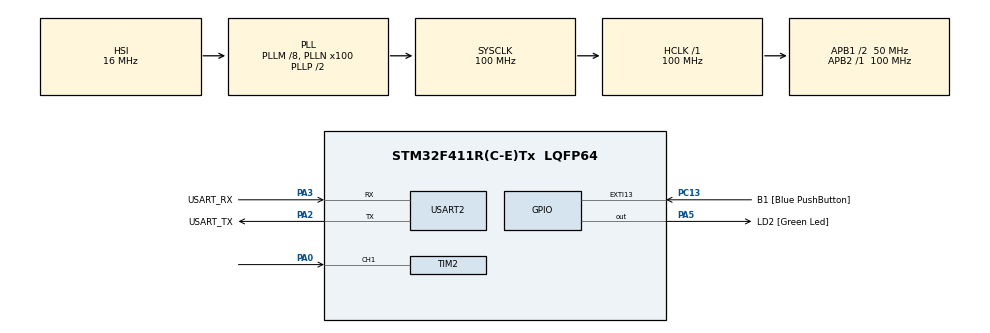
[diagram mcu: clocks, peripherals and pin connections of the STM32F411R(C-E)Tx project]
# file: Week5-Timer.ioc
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Dma.Request0=TIM2_CH1
Dma.TIM2_CH1.0.Direction=DMA_PERIPH_TO_MEMORY
Dma.TIM2_CH1.0.FIFOMode=DMA_FIFOMODE_DISABLE
Dma.TIM2_CH1.0.Instance=DMA1_Stream5
Dma.TIM2_CH1.0.MemDataAlignment=DMA_MDATAALIGN_WORD
Dma.TIM2_CH1.0.MemInc=DMA_MINC_ENABLE
Dma.TIM2_CH1.0.Mode=DMA_CIRCULAR
Dma.TIM2_CH1.0.PeriphDataAlignment=DMA_PDATAALIGN_WORD
Dma.TIM2_CH1.0.PeriphInc=DMA_PINC_DISABLE
Dma.TIM2_CH1.0.Priority=DMA_PRIORITY_LOW
Mcu.Family=STM32F4
Mcu.Name=STM32F411R(C-E)Tx
Mcu.Package=LQFP64
NVIC.DMA1_Stream5_IRQn=true\:0\:0\:false\:false\:true\:false\:true
NVIC.PriorityGroup=NVIC_PRIORITYGROUP_0
NVIC.TIM5_IRQn=true\:0\:0\:false\:false\:true\:true\:true
PA0-WKUP.Signal=S_TIM2_CH1_ETR
PA13.GPIO_Label=TMS
PA13.Mode=Serial_Wire
PA13.Signal=SYS_JTMS-SWDIO
PA14.GPIO_Label=TCK
PA14.Mode=Serial_Wire
PA14.Signal=SYS_JTCK-SWCLK
PA2.GPIO_Label=USART_TX
PA2.Mode=Asynchronous
PA2.Signal=USART2_TX
PA3.GPIO_Label=USART_RX
PA3.Mode=Asynchronous
PA3.Signal=USART2_RX
PA5.GPIO_Label=LD2 [Green Led]
PA5.Signal=GPIO_Output
PB3.GPIO_Label=SWO
PB3.Signal=SYS_JTDO-SWO
PC13-ANTI_TAMP.GPIO_Label=B1 [Blue PushButton]
PC13-ANTI_TAMP.GPIO_ModeDefaultEXTI=GPIO_MODE_IT_FALLING
PC13-ANTI_TAMP.Signal=GPXTI13
PC14-OSC32_IN.Mode=LSE-External-Oscillator
PC14-OSC32_IN.Signal=RCC_OSC32_IN
PC15-OSC32_OUT.Mode=LSE-External-Oscillator
PC15-OSC32_OUT.Signal=RCC_OSC32_OUT
PH0\ -\ OSC_IN.Mode=HSE-External-Clock-Source
PH0\ -\ OSC_IN.Signal=RCC_OSC_IN
PH1\ -\ OSC_OUT.Mode=HSE-External-Clock-Source
PH1\ -\ OSC_OUT.Signal=RCC_OSC_OUT
ProjectManager.HeapSize=0x200
ProjectManager.StackSize=0x400
ProjectManager.TargetToolchain=STM32CubeIDE
RCC.48MHZClocksFreq_Value=50000000
RCC.AHBFreq_Value=100000000
RCC.APB1CLKDivider=RCC_HCLK_DIV2
RCC.APB1Freq_Value=50000000
RCC.APB1TimFreq_Value=100000000
RCC.APB2Freq_Value=100000000
RCC.APB2TimFreq_Value=100000000
RCC.CortexFreq_Value=100000000
RCC.FLatency-AdvancedSettings=FLASH_LATENCY_3
RCC.HCLKFreq_Value=100000000
RCC.HSE_VALUE=8000000
RCC.HSI_VALUE=16000000
RCC.PLLM=8
RCC.PLLN=100
RCC.SYSCLKFreq_VALUE=100000000
RCC.SYSCLKSource=RCC_SYSCLKSOURCE_PLLCLK
RCC.VCOOutputFreq_Value=200000000
SH.S_TIM2_CH1_ETR.0=TIM2_CH1,Input_Capture1_from_TI1
TIM2.Channel-Input_Capture1_from_TI1=TIM_CHANNEL_1
TIM2.ICFilter_CH1=2
TIM2.Prescaler=99
TIM5.Prescaler=99
USART2.VirtualMode=VM_ASYNC
VP_TIM2_VS_ClockSourceINT.Mode=Internal
VP_TIM5_VS_ClockSourceINT.Mode=Internal
board=NUCLEO-F411RE

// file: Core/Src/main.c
/* USER CODE BEGIN Header */
/**
  ******************************************************************************
  * @file           : main.c
  * @brief          : Main program body
  ******************************************************************************
  * @attention
  *
  * <h2><center>&copy; Copyright (c) 2021 STMicroelectronics.
  * All rights reserved.</center></h2>
  *
  * This software component is licensed by ST under BSD 3-Clause license,
  * the "License"; You may not use this file except in compliance with the
  * License. You may obtain a copy of the License at:
  *                        opensource.org/licenses/BSD-3-Clause
  *
  ******************************************************************************
  */
/* USER CODE END Header */
#include "main.h"

/* USER CODE BEGIN PD */
#define CAPTURENUM 32
/* USER CODE END PD */

TIM_HandleTypeDef htim2;
TIM_HandleTypeDef htim5;
DMA_HandleTypeDef hdma_tim2_ch1;

UART_HandleTypeDef huart2;

/* USER CODE BEGIN PV */

//12 P/R , Gear reduction 1:64
//DMA Buffer
uint32_t capturedata[CAPTURENUM] = { 0 };

//diff time of capture data
int32_t DiffTime[CAPTURENUM-1] = { 0 };
//Mean difftime
float MeanTime = 0;
float RPM_Motor = 0;

//for microsecond measurement
uint64_t _micros = 0;
uint64_t timestamp = 0;

/* USER CODE END PV */

void SystemClock_Config(void);
static void MX_GPIO_Init(void);
static void MX_DMA_Init(void);
static void MX_USART2_UART_Init(void);
static void MX_TIM2_Init(void);
static void MX_TIM5_Init(void);
/* USER CODE BEGIN PFP */
//Read speed of encoder
void encoderSpeedReaderCycle();
void toggleLed();
uint64_t micros();
/* USER CODE END PFP */

int main(void)
{

  /* MCU Configuration--------------------------------------------------------*/

  /* Reset of all peripherals, Initializes the Flash interface and the Systick. */
  HAL_Init();

  /* Configure the system clock */
  SystemClock_Config();

  /* Initialize all configured peripherals */
  MX_GPIO_Init();
  MX_DMA_Init();
  MX_USART2_UART_Init();
  MX_TIM2_Init();
  MX_TIM5_Init();
  /* USER CODE BEGIN 2 */
  	  //start Microsec timer
  	 HAL_TIM_Base_Start_IT(&htim5);

  	 //start Input capture in DMA
  	 HAL_TIM_Base_Start(&htim2);
  	 HAL_TIM_IC_Start_DMA(&htim2, TIM_CHANNEL_1, (uint32_t*)capturedata, CAPTURENUM);

  /* USER CODE END 2 */

  /* Infinite loop */
  while (1)
  {
	  toggleLed();
	  encoderSpeedReaderCycle();
  }
}

void SystemClock_Config(void)
{
  RCC_OscInitTypeDef RCC_OscInitStruct = {0};
  RCC_ClkInitTypeDef RCC_ClkInitStruct = {0};

  /** Configure the main internal regulator output voltage
  */
  __HAL_RCC_PWR_CLK_ENABLE();
  __HAL_PWR_VOLTAGESCALING_CONFIG(PWR_REGULATOR_VOLTAGE_SCALE1);
  /** Initializes the RCC Oscillators according to the specified parameters
  * in the RCC_OscInitTypeDef structure.
  */
  RCC_OscInitStruct.OscillatorType = RCC_OSCILLATORTYPE_HSI;
  RCC_OscInitStruct.HSIState = RCC_HSI_ON;
  RCC_OscInitStruct.HSICalibrationValue = RCC_HSICALIBRATION_DEFAULT;
  RCC_OscInitStruct.PLL.PLLState = RCC_PLL_ON;
  RCC_OscInitStruct.PLL.PLLSource = RCC_PLLSOURCE_HSI;
  RCC_OscInitStruct.PLL.PLLM = 8;
  RCC_OscInitStruct.PLL.PLLN = 100;
  RCC_OscInitStruct.PLL.PLLP = RCC_PLLP_DIV2;
  RCC_OscInitStruct.PLL.PLLQ = 4;
  if (HAL_RCC_OscConfig(&RCC_OscInitStruct) != HAL_OK)
  {
    Error_Handler();
  }
  /** Initializes the CPU, AHB and APB buses clocks
  */
  RCC_ClkInitStruct.ClockType = RCC_CLOCKTYPE_HCLK|RCC_CLOCKTYPE_SYSCLK
                              |RCC_CLOCKTYPE_PCLK1|RCC_CLOCKTYPE_PCLK2;
  RCC_ClkInitStruct.SYSCLKSource = RCC_SYSCLKSOURCE_PLLCLK;
  RCC_ClkInitStruct.AHBCLKDivider = RCC_SYSCLK_DIV1;
  RCC_ClkInitStruct.APB1CLKDivider = RCC_HCLK_DIV2;
  RCC_ClkInitStruct.APB2CLKDivider = RCC_HCLK_DIV1;

  if (HAL_RCC_ClockConfig(&RCC_ClkInitStruct, FLASH_LATENCY_3) != HAL_OK)
  {
    Error_Handler();
  }
}

static void MX_TIM2_Init(void)
{

  TIM_ClockConfigTypeDef sClockSourceConfig = {0};
  TIM_MasterConfigTypeDef sMasterConfig = {0};
  TIM_IC_InitTypeDef sConfigIC = {0};

  htim2.Instance = TIM2;
  htim2.Init.Prescaler = 99;
  htim2.Init.CounterMode = TIM_COUNTERMODE_UP;
  htim2.Init.Period = 4294967295;
  htim2.Init.ClockDivision = TIM_CLOCKDIVISION_DIV1;
  htim2.Init.AutoReloadPreload = TIM_AUTORELOAD_PRELOAD_DISABLE;
  if (HAL_TIM_Base_Init(&htim2) != HAL_OK)
  {
    Error_Handler();
  }
  sClockSourceConfig.ClockSource = TIM_CLOCKSOURCE_INTERNAL;
  if (HAL_TIM_ConfigClockSource(&htim2, &sClockSourceConfig) != HAL_OK)
  {
    Error_Handler();
  }
  if (HAL_TIM_IC_Init(&htim2) != HAL_OK)
  {
    Error_Handler();
  }
  sMasterConfig.MasterOutputTrigger = TIM_TRGO_RESET;
  sMasterConfig.MasterSlaveMode = TIM_MASTERSLAVEMODE_DISABLE;
  if (HAL_TIMEx_MasterConfigSynchronization(&htim2, &sMasterConfig) != HAL_OK)
  {
    Error_Handler();
  }
  sConfigIC.ICPolarity = TIM_INPUTCHANNELPOLARITY_RISING;
  sConfigIC.ICSelection = TIM_ICSELECTION_DIRECTTI;
  sConfigIC.ICPrescaler = TIM_ICPSC_DIV1;
  sConfigIC.ICFilter = 2;
  if (HAL_TIM_IC_ConfigChannel(&htim2, &sConfigIC, TIM_CHANNEL_1) != HAL_OK)
  {
    Error_Handler();
  }

}

static void MX_TIM5_Init(void)
{

  TIM_ClockConfigTypeDef sClockSourceConfig = {0};
  TIM_MasterConfigTypeDef sMasterConfig = {0};

  htim5.Instance = TIM5;
  htim5.Init.Prescaler = 99;
  htim5.Init.CounterMode = TIM_COUNTERMODE_UP;
  htim5.Init.Period = 4294967295;
  htim5.Init.ClockDivision = TIM_CLOCKDIVISION_DIV1;
  htim5.Init.AutoReloadPreload = TIM_AUTORELOAD_PRELOAD_DISABLE;
  if (HAL_TIM_Base_Init(&htim5) != HAL_OK)
  {
    Error_Handler();
  }
  sClockSourceConfig.ClockSource = TIM_CLOCKSOURCE_INTERNAL;
  if (HAL_TIM_ConfigClockSource(&htim5, &sClockSourceConfig) != HAL_OK)
  {
    Error_Handler();
  }
  sMasterConfig.MasterOutputTrigger = TIM_TRGO_RESET;
  sMasterConfig.MasterSlaveMode = TIM_MASTERSLAVEMODE_DISABLE;
  if (HAL_TIMEx_MasterConfigSynchronization(&htim5, &sMasterConfig) != HAL_OK)
  {
    Error_Handler();
  }

}

static void MX_USART2_UART_Init(void)
{

  huart2.Instance = USART2;
  huart2.Init.BaudRate = 115200;
  huart2.Init.WordLength = UART_WORDLENGTH_8B;
  huart2.Init.StopBits = UART_STOPBITS_1;
  huart2.Init.Parity = UART_PARITY_NONE;
  huart2.Init.Mode = UART_MODE_TX_RX;
  huart2.Init.HwFlowCtl = UART_HWCONTROL_NONE;
  huart2.Init.OverSampling = UART_OVERSAMPLING_16;
  if (HAL_UART_Init(&huart2) != HAL_OK)
  {
    Error_Handler();
  }

}

static void MX_DMA_Init(void)
{

  /* DMA controller clock enable */
  __HAL_RCC_DMA1_CLK_ENABLE();

  /* DMA interrupt init */
  /* DMA1_Stream5_IRQn interrupt configuration */
  HAL_NVIC_SetPriority(DMA1_Stream5_IRQn, 0, 0);
  HAL_NVIC_EnableIRQ(DMA1_Stream5_IRQn);

}

static void MX_GPIO_Init(void)
{
  GPIO_InitTypeDef GPIO_InitStruct = {0};

  /* GPIO Ports Clock Enable */
  __HAL_RCC_GPIOC_CLK_ENABLE();
  __HAL_RCC_GPIOH_CLK_ENABLE();
  __HAL_RCC_GPIOA_CLK_ENABLE();
  __HAL_RCC_GPIOB_CLK_ENABLE();

  /*Configure GPIO pin Output Level */
  HAL_GPIO_WritePin(LD2_GPIO_Port, LD2_Pin, GPIO_PIN_RESET);

  /*Configure GPIO pin : B1_Pin */
  GPIO_InitStruct.Pin = B1_Pin;
  GPIO_InitStruct.Mode = GPIO_MODE_IT_FALLING;
  GPIO_InitStruct.Pull = GPIO_NOPULL;
  HAL_GPIO_Init(B1_GPIO_Port, &GPIO_InitStruct);

  /*Configure GPIO pin : LD2_Pin */
  GPIO_InitStruct.Pin = LD2_Pin;
  GPIO_InitStruct.Mode = GPIO_MODE_OUTPUT_PP;
  GPIO_InitStruct.Pull = GPIO_NOPULL;
  GPIO_InitStruct.Speed = GPIO_SPEED_FREQ_LOW;
  HAL_GPIO_Init(LD2_GPIO_Port, &GPIO_InitStruct);

}

/* USER CODE BEGIN 4 */
void toggleLed(){
	if(micros() - timestamp >= 100000){
		timestamp = micros();
		HAL_GPIO_TogglePin(LD2_GPIO_Port, LD2_Pin);

	}
}
void encoderSpeedReaderCycle(){
	uint32_t CapPos = CAPTURENUM - __HAL_DMA_GET_COUNTER(htim2.hdma[TIM_DMA_ID_CC1]);  //capturedata ready to send data
	uint32_t sum = 0;

	//calculate diff from all buffer
	for(register int i=0 ; i < CAPTURENUM-1; i++)
	{
		DiffTime[i] = capturedata[(CapPos+1+i)%CAPTURENUM]-capturedata[(CapPos+i)%CAPTURENUM];
		//time never go back, but timer can over flow , conpensate that
		if(DiffTime[i] < 0){
			DiffTime[i]+=4294967295;

		}
		//Sum all 15 Diff
		sum += DiffTime[i];
	}
	MeanTime = sum/ (float)(CAPTURENUM-1);
	RPM_Motor = (1000000*60)/(MeanTime*64*12);
}

uint64_t micros()
{
	return _micros + htim5.Instance->CNT; //counter of Timer11
}
void HAL_TIM_PeriodElapsedCallback(TIM_HandleTypeDef *htim)
{
	if(htim == &htim5){
		_micros += 4294967295;
	}
}

/* USER CODE END 4 */

void Error_Handler(void)
{
  __disable_irq();
  while (1)
  {
  }
}

/************************ (C) COPYRIGHT STMicroelectronics *****END OF FILE****/
